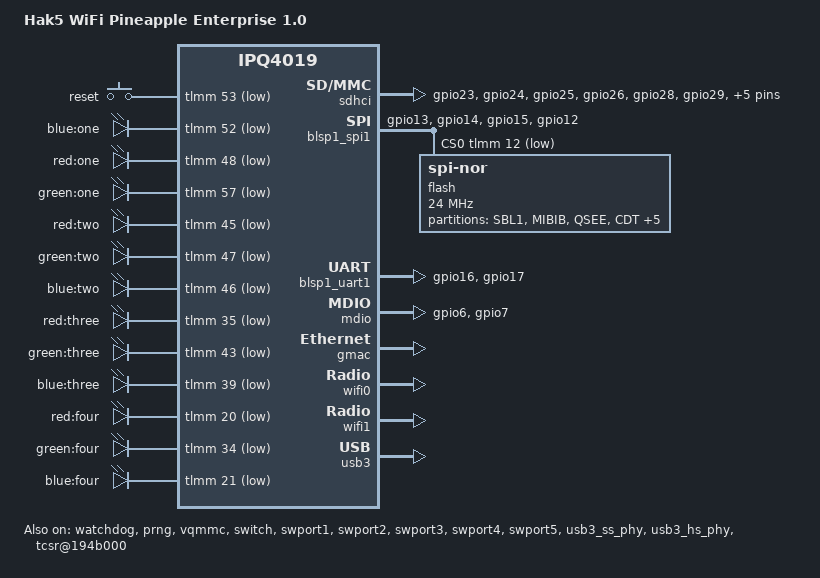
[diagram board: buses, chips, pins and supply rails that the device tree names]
// SPDX-License-Identifier: GPL-2.0-or-later OR MIT
/* WiFi Pineapple Enterprise (Hak5), Qualcomm IPQ4019.
 *
 * Derived from the stock Hak5 device tree (firmware 2.1.3,
 * docs/stock-pineapple-ent.dts) and modelled on the 8devices Habanero DVK,
 * which shares the SoC, the 32 MB SPI-NOR + FIT boot layout, the UART pins and
 * the sdhci wiring. Differences from stock captured here: NOR partitions
 * (no cfg partition; firmware at 0x180000), 4 RGB status LEDs, reset on GPIO53,
 * USB3 only (USB2 and PCIe unused), two ath10k radios + 3x MT7612U on USB.
 */

#include "qcom-ipq4019.dtsi"
#include <dt-bindings/gpio/gpio.h>
#include <dt-bindings/input/input.h>
#include <dt-bindings/soc/qcom,tcsr.h>

/ {
	model = "Hak5 WiFi Pineapple Enterprise 1.0";
	compatible = "hak5,wifi-pineapple-enterprise-1", "qcom,ipq4019";

	aliases {
		ethernet0 = &gmac;
		led-boot = &led_blue0;
		led-failsafe = &led_blue0;
		led-running = &led_blue0;
		led-upgrade = &led_blue0;
	};

	soc {
		tcsr@1949000 {
			compatible = "qcom,tcsr";
			reg = <0x1949000 0x100>;
			qcom,wifi_glb_cfg = <TCSR_WIFI_GLB_CFG>;
		};

		tcsr@194b000 {
			status = "okay";
			compatible = "qcom,tcsr";
			reg = <0x194b000 0x100>;
			qcom,usb-hsphy-mode-select = <TCSR_USB_HSPHY_HOST_MODE>;
		};

		ess_tcsr@1953000 {
			compatible = "qcom,tcsr";
			reg = <0x1953000 0x1000>;
			qcom,ess-interface-select = <TCSR_ESS_PSGMII>;
		};

		tcsr@1957000 {
			compatible = "qcom,tcsr";
			reg = <0x1957000 0x100>;
			qcom,wifi_noc_memtype_m0_m2 = <TCSR_WIFI_NOC_MEMTYPE_M0_M2>;
		};
	};

	keys {
		compatible = "gpio-keys";

		reset {
			label = "reset";
			gpios = <&tlmm 53 GPIO_ACTIVE_LOW>;
			linux,code = <KEY_RESTART>;
		};
	};

	/* Four front-panel RGB status LEDs. Polarity (active-low) and GPIOs taken
	 * from the stock device tree; verify on hardware and adjust if inverted.
	 */
	leds {
		compatible = "gpio-leds";

		led_blue0: blue-one {
			label = "blue:one";
			gpios = <&tlmm 52 GPIO_ACTIVE_LOW>;
			linux,default-trigger = "phy0tpt";
		};

		red-one {
			label = "red:one";
			gpios = <&tlmm 48 GPIO_ACTIVE_LOW>;
		};

		green-one {
			label = "green:one";
			gpios = <&tlmm 57 GPIO_ACTIVE_LOW>;
		};

		red-two {
			label = "red:two";
			gpios = <&tlmm 45 GPIO_ACTIVE_LOW>;
		};

		green-two {
			label = "green:two";
			gpios = <&tlmm 47 GPIO_ACTIVE_LOW>;
		};

		blue-two {
			label = "blue:two";
			gpios = <&tlmm 46 GPIO_ACTIVE_LOW>;
		};

		red-three {
			label = "red:three";
			gpios = <&tlmm 35 GPIO_ACTIVE_LOW>;
		};

		green-three {
			label = "green:three";
			gpios = <&tlmm 43 GPIO_ACTIVE_LOW>;
		};

		blue-three {
			label = "blue:three";
			gpios = <&tlmm 39 GPIO_ACTIVE_LOW>;
		};

		red-four {
			label = "red:four";
			gpios = <&tlmm 20 GPIO_ACTIVE_LOW>;
		};

		green-four {
			label = "green:four";
			gpios = <&tlmm 34 GPIO_ACTIVE_LOW>;
		};

		blue-four {
			label = "blue:four";
			gpios = <&tlmm 21 GPIO_ACTIVE_LOW>;
		};
	};
};

&watchdog {
	status = "okay";
};

&prng {
	status = "okay";
};

&vqmmc {
	status = "okay";
};

/* 4 GB eMMC — data/persistent storage, not in the boot path. */
&sdhci {
	status = "okay";
	pinctrl-0 = <&sd_pins>;
	pinctrl-names = "default";
	cd-gpios = <&tlmm 22 GPIO_ACTIVE_LOW>;
	vqmmc-supply = <&vqmmc>;
};

&tlmm {
	mdio_pins: mdio_pinmux {
		mux_1 {
			pins = "gpio6";
			function = "mdio";
			bias-pull-up;
		};

		mux_2 {
			pins = "gpio7";
			function = "mdc";
			bias-pull-up;
		};
	};

	serial_pins: serial_pinmux {
		mux {
			pins = "gpio16", "gpio17";
			function = "blsp_uart0";
			bias-disable;
		};
	};

	spi_0_pins: spi_0_pinmux {
		pinmux {
			function = "blsp_spi0";
			pins = "gpio13", "gpio14", "gpio15";
			drive-strength = <12>;
			bias-disable;
		};

		pinmux_cs {
			function = "gpio";
			pins = "gpio12";
			drive-strength = <2>;
			bias-disable;
			output-high;
		};
	};

	sd_pins: sd_pinmux {
		pinmux {
			function = "sdio";
			pins = "gpio23", "gpio24", "gpio25", "gpio26",
				"gpio28", "gpio29", "gpio30", "gpio31";
			drive-strength = <10>;
		};

		pinmux_sd_clk {
			function = "sdio";
			pins = "gpio27";
			drive-strength = <16>;
		};

		pinmux_sd7 {
			function = "sdio";
			pins = "gpio32";
			drive-strength = <10>;
			bias-disable;
		};
	};
};

&blsp_dma {
	status = "okay";
};

&blsp1_spi1 {
	status = "okay";
	pinctrl-0 = <&spi_0_pins>;
	pinctrl-names = "default";
	cs-gpios = <&tlmm 12 GPIO_ACTIVE_LOW>;

	flash@0 {
		compatible = "jedec,spi-nor";
		spi-max-frequency = <24000000>;
		reg = <0>;

		partitions {
			compatible = "fixed-partitions";
			#address-cells = <1>;
			#size-cells = <1>;

			partition@0 {
				label = "SBL1";
				reg = <0x00000000 0x00040000>;
				read-only;
			};
			partition@40000 {
				label = "MIBIB";
				reg = <0x00040000 0x00020000>;
				read-only;
			};
			partition@60000 {
				label = "QSEE";
				reg = <0x00060000 0x00060000>;
				read-only;
			};
			partition@c0000 {
				label = "CDT";
				reg = <0x000c0000 0x00010000>;
				read-only;
			};
			partition@d0000 {
				label = "DDRPARAMS";
				reg = <0x000d0000 0x00010000>;
				read-only;
			};
			partition@e0000 {
				label = "APPSBLENV"; /* u-boot env */
				reg = <0x000e0000 0x00010000>;
				read-only;
			};
			partition@f0000 {
				label = "APPSBL"; /* u-boot */
				reg = <0x000f0000 0x00080000>;
				read-only;
			};
			partition@170000 {
				label = "ART";
				reg = <0x00170000 0x00010000>;
				read-only;

				nvmem-layout {
					compatible = "fixed-layout";
					#address-cells = <1>;
					#size-cells = <1>;

					/* Offset 0 is blank on this board. Ethernet MACs are set
					 * in board.d/02_network from the MAC at 0x1006.
					 */
					precal_art_1000: precal@1000 {
						reg = <0x1000 0x2f20>;
					};

					precal_art_5000: precal@5000 {
						reg = <0x5000 0x2f20>;
					};
				};
			};
			partition@180000 {
				label = "firmware";
				compatible = "denx,fit";
				reg = <0x00180000 0x01e80000>;
			};
		};
	};
};

&blsp1_uart1 {
	status = "okay";
	pinctrl-0 = <&serial_pins>;
	pinctrl-names = "default";
};

&mdio {
	status = "okay";
	pinctrl-0 = <&mdio_pins>;
	pinctrl-names = "default";
};

&gmac {
	status = "okay";
};

&switch {
	status = "okay";
};

&swport1 {
	status = "okay";
};

&swport2 {
	status = "okay";
};

&swport3 {
	status = "okay";
};

&swport4 {
	status = "okay";
};

&swport5 {
	status = "okay";
};

&wifi0 {
	status = "okay";
	nvmem-cell-names = "pre-calibration";
	nvmem-cells = <&precal_art_1000>;
	qcom,ath10k-calibration-variant = "Hak5-WiFi-Pineapple-Ent-1";
};

&wifi1 {
	status = "okay";
	nvmem-cell-names = "pre-calibration";
	nvmem-cells = <&precal_art_5000>;
	qcom,ath10k-calibration-variant = "Hak5-WiFi-Pineapple-Ent-1";
};

/* USB3 host: internal hub feeds the 3x MT7612U radios and the ASIX NIC. */
&usb3 {
	status = "okay";
};

&usb3_ss_phy {
	status = "okay";
};

&usb3_hs_phy {
	status = "okay";
};
